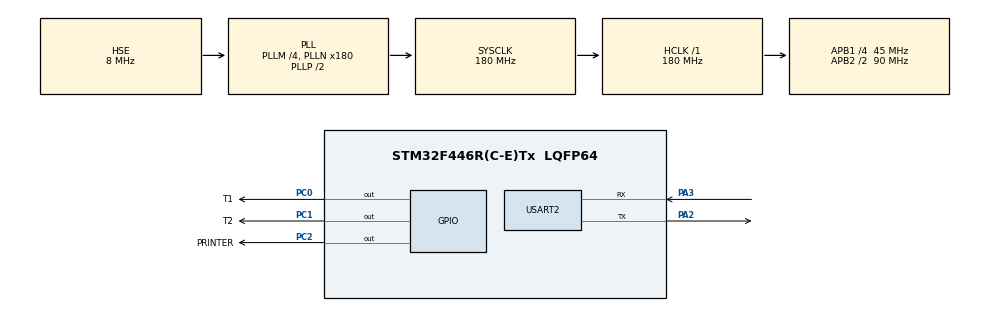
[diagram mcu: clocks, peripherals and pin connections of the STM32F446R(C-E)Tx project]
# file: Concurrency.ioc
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FREERTOS.BinarySemaphores01=sema,Dynamic,NULL
FREERTOS.INCLUDE_uxTaskGetStackHighWaterMark=1
FREERTOS.INCLUDE_uxTaskGetStackHighWaterMark2=1
FREERTOS.INCLUDE_vTaskDelayUntil=1
FREERTOS.Tasks01=task_1,-2,2000,start_task_1,Default,NULL,Dynamic,NULL,NULL;task_2,0,2000,start_task_2,Default,NULL,Dynamic,NULL,NULL;UART_task,-3,1024,start_UART_task,Default,NULL,Dynamic,NULL,NULL
FREERTOS.configCHECK_FOR_STACK_OVERFLOW=2
FREERTOS.configENABLE_FPU=1
FREERTOS.configRECORD_STACK_HIGH_ADDRESS=1
FREERTOS.configTOTAL_HEAP_SIZE=0x8000
FREERTOS.configUSE_NEWLIB_REENTRANT=1
FREERTOS.configUSE_POSIX_ERRNO=1
Mcu.Family=STM32F4
Mcu.Name=STM32F446R(C-E)Tx
Mcu.Package=LQFP64
NVIC.PriorityGroup=NVIC_PRIORITYGROUP_4
NVIC.TIM1_UP_TIM10_IRQn=true\:15\:0\:false\:false\:true\:false\:false\:true\:true
NVIC.TimeBase=TIM1_UP_TIM10_IRQn
NVIC.TimeBaseIP=TIM10
PA13.Mode=Trace_Asynchronous_SW
PA13.Signal=SYS_JTMS-SWDIO
PA14.Mode=Trace_Asynchronous_SW
PA14.Signal=SYS_JTCK-SWCLK
PA2.Mode=Asynchronous
PA2.Signal=USART2_TX
PA3.Mode=Asynchronous
PA3.Signal=USART2_RX
PB3.Mode=Trace_Asynchronous_SW
PB3.Signal=SYS_JTDO-SWO
PC0.GPIO_Label=T1
PC0.Signal=GPIO_Output
PC1.GPIO_Label=T2
PC1.Signal=GPIO_Output
PC2.GPIO_Label=PRINTER
PC2.Signal=GPIO_Output
PH0-OSC_IN.Mode=HSE-External-Oscillator
PH0-OSC_IN.Signal=RCC_OSC_IN
PH1-OSC_OUT.Mode=HSE-External-Oscillator
PH1-OSC_OUT.Signal=RCC_OSC_OUT
ProjectManager.HeapSize=0x2000
ProjectManager.StackSize=0x1000
ProjectManager.TargetToolchain=STM32CubeIDE
RCC.48MHZClocksFreq_Value=84000000
RCC.AHBFreq_Value=180000000
RCC.APB1CLKDivider=RCC_HCLK_DIV4
RCC.APB1Freq_Value=45000000
RCC.APB1TimFreq_Value=90000000
RCC.APB2CLKDivider=RCC_HCLK_DIV2
RCC.APB2Freq_Value=90000000
RCC.APB2TimFreq_Value=180000000
RCC.CortexFreq_Value=180000000
RCC.FLatency-AdvancedSettings=FLASH_LATENCY_5
RCC.HCLKFreq_Value=180000000
RCC.HSE_VALUE=8000000
RCC.HSI_VALUE=16000000
RCC.PLLM=4
RCC.PLLN=180
RCC.PLLSourceVirtual=RCC_PLLSOURCE_HSE
RCC.SYSCLKFreq_VALUE=180000000
RCC.SYSCLKSource=RCC_SYSCLKSOURCE_PLLCLK
RCC.USBFreq_Value=180000000
RCC.VCOOutputFreq_Value=360000000
USART2.VirtualMode=VM_ASYNC
VP_FREERTOS_VS_CMSIS_V1.Mode=CMSIS_V1
VP_SYS_VS_tim10.Mode=TIM10
board=NUCLEO-F446RE

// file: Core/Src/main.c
/* USER CODE BEGIN Header */
/**
  ******************************************************************************
  * @file           : main.c
  * @brief          : Main program body
  ******************************************************************************
  * @attention
  *
  * Copyright (c) 2023 STMicroelectronics.
  * All rights reserved.
  *
  * This software is licensed under terms that can be found in the LICENSE file
  * in the root directory of this software component.
  * If no LICENSE file comes with this software, it is provided AS-IS.
  *
  ******************************************************************************
  */
/* USER CODE END Header */
#include "main.h"
#include "cmsis_os.h"
#include "usart.h"
#include "gpio.h"

void SystemClock_Config(void);
void MX_FREERTOS_Init(void);

int main(void)
{

  /* MCU Configuration--------------------------------------------------------*/

  /* Reset of all peripherals, Initializes the Flash interface and the Systick. */
  HAL_Init();

  /* Configure the system clock */
  SystemClock_Config();

  /* Initialize all configured peripherals */
  MX_GPIO_Init();
  MX_USART2_UART_Init();

  /* Call init function for freertos objects (in freertos.c) */
  MX_FREERTOS_Init();

  /* Start scheduler */
  osKernelStart();

  /* We should never get here as control is now taken by the scheduler */
  /* Infinite loop */
  while (1)
  {

  }
}

void SystemClock_Config(void)
{
  RCC_OscInitTypeDef RCC_OscInitStruct = {0};
  RCC_ClkInitTypeDef RCC_ClkInitStruct = {0};

  /** Configure the main internal regulator output voltage
  */
  __HAL_RCC_PWR_CLK_ENABLE();
  __HAL_PWR_VOLTAGESCALING_CONFIG(PWR_REGULATOR_VOLTAGE_SCALE1);

  /** Initializes the RCC Oscillators according to the specified parameters
  * in the RCC_OscInitTypeDef structure.
  */
  RCC_OscInitStruct.OscillatorType = RCC_OSCILLATORTYPE_HSE;
  RCC_OscInitStruct.HSEState = RCC_HSE_ON;
  RCC_OscInitStruct.PLL.PLLState = RCC_PLL_ON;
  RCC_OscInitStruct.PLL.PLLSource = RCC_PLLSOURCE_HSE;
  RCC_OscInitStruct.PLL.PLLM = 4;
  RCC_OscInitStruct.PLL.PLLN = 180;
  RCC_OscInitStruct.PLL.PLLP = RCC_PLLP_DIV2;
  RCC_OscInitStruct.PLL.PLLQ = 2;
  RCC_OscInitStruct.PLL.PLLR = 2;
  if (HAL_RCC_OscConfig(&RCC_OscInitStruct) != HAL_OK)
  {
    Error_Handler();
  }

  /** Activate the Over-Drive mode
  */
  if (HAL_PWREx_EnableOverDrive() != HAL_OK)
  {
    Error_Handler();
  }

  /** Initializes the CPU, AHB and APB buses clocks
  */
  RCC_ClkInitStruct.ClockType = RCC_CLOCKTYPE_HCLK|RCC_CLOCKTYPE_SYSCLK
                              |RCC_CLOCKTYPE_PCLK1|RCC_CLOCKTYPE_PCLK2;
  RCC_ClkInitStruct.SYSCLKSource = RCC_SYSCLKSOURCE_PLLCLK;
  RCC_ClkInitStruct.AHBCLKDivider = RCC_SYSCLK_DIV1;
  RCC_ClkInitStruct.APB1CLKDivider = RCC_HCLK_DIV4;
  RCC_ClkInitStruct.APB2CLKDivider = RCC_HCLK_DIV2;

  if (HAL_RCC_ClockConfig(&RCC_ClkInitStruct, FLASH_LATENCY_5) != HAL_OK)
  {
    Error_Handler();
  }
}

void HAL_TIM_PeriodElapsedCallback(TIM_HandleTypeDef *htim)
{
  if (htim->Instance == TIM10) {
    HAL_IncTick();
  }
}

void Error_Handler(void)
{
  __disable_irq();
  while (1)
  {
  }
}

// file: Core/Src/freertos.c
/* USER CODE BEGIN Header */
/**
  ******************************************************************************
  * File Name          : freertos.c
  * Description        : Code for freertos applications
  ******************************************************************************
  * @attention
  *
  * Copyright (c) 2023 STMicroelectronics.
  * All rights reserved.
  *
  * This software is licensed under terms that can be found in the LICENSE file
  * in the root directory of this software component.
  * If no LICENSE file comes with this software, it is provided AS-IS.
  *
  ******************************************************************************
  */
/* USER CODE END Header */

#include "FreeRTOS.h"
#include "task.h"
#include "main.h"
#include "cmsis_os.h"

/* USER CODE BEGIN Includes */
#include <stdio.h>
#include <stdlib.h>
#include <math.h>
/* USER CODE END Includes */

/* USER CODE BEGIN PTD */
struct data_t {
	float mean;
	float mean_square;
};
/* USER CODE END PTD */

/* USER CODE BEGIN PD */
#define NUM_SAMPLES 1000
#define NUM_OF_TASKS 2
#define BUF_SZIE 50
/* USER CODE END PD */

/* USER CODE BEGIN Variables */
struct data_t task_1_result, task_2_result;
SemaphoreHandle_t mutex,semaphore_handle;
/* USER CODE END Variables */
osThreadId task_1Handle;
osThreadId task_2Handle;
osThreadId UART_taskHandle;
osSemaphoreId semaHandle;

void start_task_1(void const * argument);
void start_task_2(void const * argument);
void start_UART_task(void const * argument);

void MX_FREERTOS_Init(void); /* (MISRA C 2004 rule 8.1) */

/* GetIdleTaskMemory prototype (linked to static allocation support) */
void vApplicationGetIdleTaskMemory( StaticTask_t **ppxIdleTaskTCBBuffer, StackType_t **ppxIdleTaskStackBuffer, uint32_t *pulIdleTaskStackSize );

/* Hook prototypes */
void vApplicationStackOverflowHook(xTaskHandle xTask, signed char *pcTaskName);

/* USER CODE BEGIN 4 */
__weak void vApplicationStackOverflowHook(xTaskHandle xTask, signed char *pcTaskName)
{
   /* Run time stack overflow checking is performed if
   configCHECK_FOR_STACK_OVERFLOW is defined to 1 or 2. This hook function is
   called if a stack overflow is detected. */
}
/* USER CODE END 4 */

/* USER CODE BEGIN GET_IDLE_TASK_MEMORY */
static StaticTask_t xIdleTaskTCBBuffer;
static StackType_t xIdleStack[configMINIMAL_STACK_SIZE];

void vApplicationGetIdleTaskMemory( StaticTask_t **ppxIdleTaskTCBBuffer, StackType_t **ppxIdleTaskStackBuffer, uint32_t *pulIdleTaskStackSize )
{
  *ppxIdleTaskTCBBuffer = &xIdleTaskTCBBuffer;
  *ppxIdleTaskStackBuffer = &xIdleStack[0];
  *pulIdleTaskStackSize = configMINIMAL_STACK_SIZE;
  /* place for user code */
}
/* USER CODE END GET_IDLE_TASK_MEMORY */

void MX_FREERTOS_Init(void) {

  /* USER CODE BEGIN RTOS_MUTEX */
//	mutex=xSemaphoreCreateMutex();
	mutex= xSemaphoreCreateBinary();
	/* add mutexes, ... */
  /* USER CODE END RTOS_MUTEX */

  /* Create the semaphores(s) */
  /* definition and creation of sema */
  osSemaphoreDef(sema);
  semaHandle = osSemaphoreCreate(osSemaphore(sema), 1);

  /* Create the thread(s) */
  /* definition and creation of task_1 */
  osThreadDef(task_1, start_task_1, osPriorityLow, 0, 2000);
  task_1Handle = osThreadCreate(osThread(task_1), NULL);

  /* definition and creation of task_2 */
  osThreadDef(task_2, start_task_2, osPriorityNormal, 0, 2000);
  task_2Handle = osThreadCreate(osThread(task_2), NULL);

  /* definition and creation of UART_task */
  osThreadDef(UART_task, start_UART_task, osPriorityIdle, 0, 1024);
  UART_taskHandle = osThreadCreate(osThread(UART_task), NULL);

}

void start_task_1(void const * argument)
{
  /* USER CODE BEGIN start_task_1 */
	float array[NUM_SAMPLES]; //, mean, mean_square;
//	for(uint16_t i =0; i < NUM_SAMPLES; i++) {
//		array[i] = 0;
//	}
	float sum=0, sum_ofsquares=0;
  /* Infinite loop */
  for(;;)
  {
	  if(xSemaphoreTake(mutex,(TickType_t )10)==pdTRUE){
	  for(uint16_t i =0; i < NUM_SAMPLES; i++) {

			  array[i] = ((float)rand()/RAND_MAX)*2-1;
			  sum += array[i];
			  sum_ofsquares += array[i]*array[i];
	  }

		  HAL_GPIO_TogglePin(T1_GPIO_Port, T1_Pin);

	  task_1_result.mean = sum / NUM_SAMPLES;
	  task_1_result.mean_square = sqrt(sum_ofsquares / NUM_SAMPLES);
	  xSemaphoreGive(mutex);
	  HAL_GPIO_TogglePin(T1_GPIO_Port, T1_Pin);

	  }
    osDelay(10);
  }
  /* USER CODE END start_task_1 */
}

void start_task_2(void const * argument)
{
  /* USER CODE BEGIN start_task_2 */
	float array[NUM_SAMPLES];
	float sum=0, sum_ofsquares=0;
  /* Infinite loop */
  for(;;)
  {
	  if(xSemaphoreTake(mutex,(TickType_t )10)==pdTRUE){
	  for(uint16_t i =0; i < NUM_SAMPLES; i++) {

		  array[i] = ((float)rand()/RAND_MAX)*2-1;
		  sum += array[i];
		  sum_ofsquares += array[i]*array[i];
	  }

		  HAL_GPIO_TogglePin(T2_GPIO_Port, T2_Pin);

	  task_2_result.mean = sum / NUM_SAMPLES;
	  task_2_result.mean_square = sqrt(sum_ofsquares / NUM_SAMPLES);
	  xSemaphoreGive(mutex);
	  HAL_GPIO_TogglePin(T2_GPIO_Port, T2_Pin);

	  }

	  osDelay(10);
  }
  /* USER CODE END start_task_2 */
}

/* USER CODE BEGIN Header_start_UART_task */
char c[BUF_SZIE], c2[BUF_SZIE];
extern UART_HandleTypeDef huart2;

int __io_putchar(int ch) {
	HAL_UART_Transmit(&huart2, (uint8_t *)&ch, 1, 0xFFFF);
	osDelay(10);
	return ch;
}
/**
* @brief Function implementing the UART_task thread.
* @param argument: Not used
* @retval None
*/
/* USER CODE END Header_start_UART_task */
void start_UART_task(void const * argument)
{
  /* USER CODE BEGIN start_UART_task */
  /* Infinite loop */
struct data_t result;
  for(;;)
  {
	  if(xSemaphoreTake(mutex,(TickType_t)100)==pdTRUE){
		 osDelay(1000);
		  HAL_GPIO_TogglePin(PRINTER_GPIO_Port, PRINTER_Pin);
	  result.mean = (task_1_result.mean + task_2_result.mean) / NUM_OF_TASKS;
	  result.mean_square = (task_1_result.mean_square + task_2_result.mean_square) / NUM_OF_TASKS;
	  }

	  xSemaphoreGive(mutex);
//	  HAL_UART_Transmit(&huart2, task1_Res.mean, sizeof(task1_Res.mean), 1000);
	  HAL_GPIO_TogglePin(PRINTER_GPIO_Port, PRINTER_Pin);

//	  for (int i = 0; i < ;i++)
//		  {

	  sprintf(c, "mean of means: %.2f\n\r", result.mean);
	  puts(c);
	  sprintf(c2, "mean of mean squares: %.2f\n\r", result.mean_square);
	  puts(c2);

//	  __io_putchar(c);
//	  for (int j = 0; j < 2; j++) {  // or without this line and i instead of j
//	  			j = j%2;
//	  //			itoa(data_value.adc_value, c[j], 10);  // need to provide performing for second channel
//	  			printf("%c\n", c[j]);
//	  		}
//	  for(int i = 0; i < 26; i++)
//	  {
//		  printf("%c", c[i]);
////		  putchar('0');
////		  osDelay(100);
//	  }
//	  	  printf()
//	  putchar('\r');
//	  putchar('\n');
  }
  // "mean of means:
  // "mean of mean_squares:

  /* USER CODE END start_UART_task */
}
